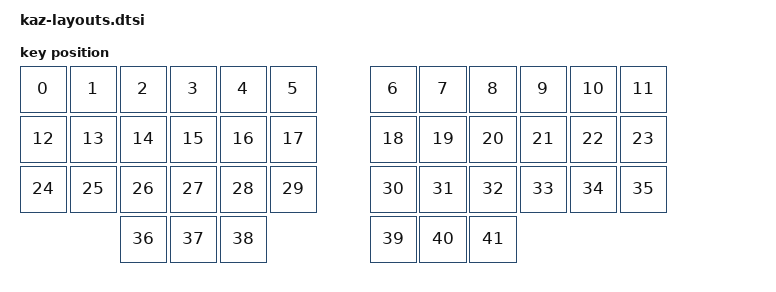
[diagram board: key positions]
/*
 * Kaz Physical Layout
 * 3x5 split keyboard with 3 thumb keys per side
 * 
 * SPDX-License-Identifier: MIT
 */

#include <physical_layouts.dtsi>

/ {
    kaz_layout: kaz_layout {
        compatible = "zmk,physical-layout";
        display-name = "Kaz";
        transform = <&default_transform>;

        keys  //                     w   h    x    y     rot    rx    ry
            // Row 0 - Left side (6 keys including outer column)
            = <&key_physical_attrs 100 100    0    0       0     0     0>
            , <&key_physical_attrs 100 100  100    0       0     0     0>
            , <&key_physical_attrs 100 100  200    0       0     0     0>
            , <&key_physical_attrs 100 100  300    0       0     0     0>
            , <&key_physical_attrs 100 100  400    0       0     0     0>
            , <&key_physical_attrs 100 100  500    0       0     0     0>
            // Row 0 - Right side (6 keys including outer column)
            , <&key_physical_attrs 100 100  700    0       0     0     0>
            , <&key_physical_attrs 100 100  800    0       0     0     0>
            , <&key_physical_attrs 100 100  900    0       0     0     0>
            , <&key_physical_attrs 100 100 1000    0       0     0     0>
            , <&key_physical_attrs 100 100 1100    0       0     0     0>
            , <&key_physical_attrs 100 100 1200    0       0     0     0>
            // Row 1 - Left side (6 keys)
            , <&key_physical_attrs 100 100    0  100       0     0     0>
            , <&key_physical_attrs 100 100  100  100       0     0     0>
            , <&key_physical_attrs 100 100  200  100       0     0     0>
            , <&key_physical_attrs 100 100  300  100       0     0     0>
            , <&key_physical_attrs 100 100  400  100       0     0     0>
            , <&key_physical_attrs 100 100  500  100       0     0     0>
            // Row 1 - Right side (6 keys)
            , <&key_physical_attrs 100 100  700  100       0     0     0>
            , <&key_physical_attrs 100 100  800  100       0     0     0>
            , <&key_physical_attrs 100 100  900  100       0     0     0>
            , <&key_physical_attrs 100 100 1000  100       0     0     0>
            , <&key_physical_attrs 100 100 1100  100       0     0     0>
            , <&key_physical_attrs 100 100 1200  100       0     0     0>
            // Row 2 - Left side (6 keys)
            , <&key_physical_attrs 100 100    0  200       0     0     0>
            , <&key_physical_attrs 100 100  100  200       0     0     0>
            , <&key_physical_attrs 100 100  200  200       0     0     0>
            , <&key_physical_attrs 100 100  300  200       0     0     0>
            , <&key_physical_attrs 100 100  400  200       0     0     0>
            , <&key_physical_attrs 100 100  500  200       0     0     0>
            // Row 2 - Right side (6 keys)
            , <&key_physical_attrs 100 100  700  200       0     0     0>
            , <&key_physical_attrs 100 100  800  200       0     0     0>
            , <&key_physical_attrs 100 100  900  200       0     0     0>
            , <&key_physical_attrs 100 100 1000  200       0     0     0>
            , <&key_physical_attrs 100 100 1100  200       0     0     0>
            , <&key_physical_attrs 100 100 1200  200       0     0     0>
            // Row 3 - Thumb keys (3 left, 3 right)
            , <&key_physical_attrs 100 100  200  300       0     0     0>
            , <&key_physical_attrs 100 100  300  300       0     0     0>
            , <&key_physical_attrs 100 100  400  300       0     0     0>
            , <&key_physical_attrs 100 100  700  300       0     0     0>
            , <&key_physical_attrs 100 100  800  300       0     0     0>
            , <&key_physical_attrs 100 100  900  300       0     0     0>
            ;
    };
};
